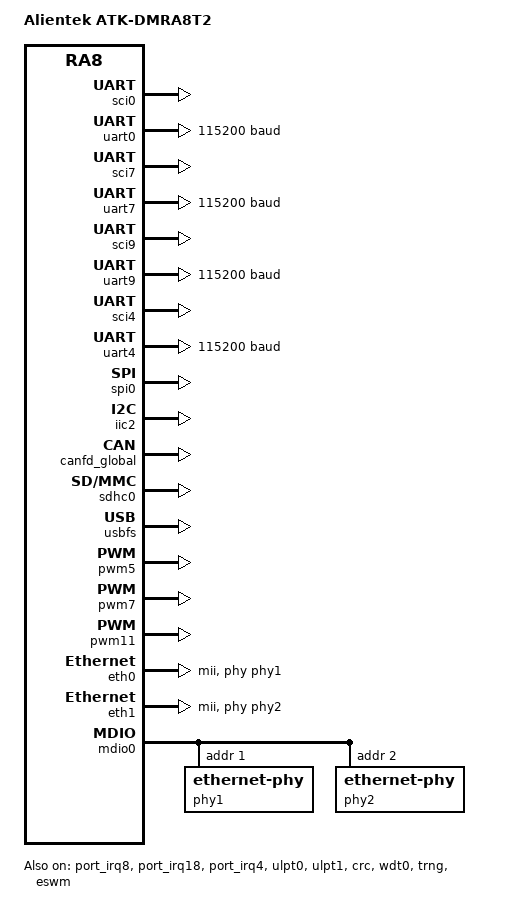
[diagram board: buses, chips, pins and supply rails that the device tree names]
/*
 * Copyright (c) 2026 Alientek
 * SPDX-License-Identifier: Apache-2.0
 */

/dts-v1/;

#include <renesas/ra/ra8/r7ka8t2lflcac_cm85.dtsi>
#include "dmra8t2.dtsi"

/ {
	model = "Alientek ATK-DMRA8T2";
	compatible = "alientek,dmra8t2", "renesas,ra8t2", "renesas,ra8";

	chosen {
		zephyr,sram = &sram0;
		zephyr,flash = &code_mram_cm85;
		zephyr,flash-controller = &mram_ctrl;
		zephyr,code-partition = &slot0_partition;
		zephyr,console = &uart0;
		zephyr,shell-uart = &uart0;
		zephyr,canbus = &canfd1;
		zephyr,crc = &crc;
		zephyr,entropy = &trng;
	};

	aliases {
		led0 = &led0;
		led1 = &led1;
		sw0 = &key0;
		sw1 = &key1;
		sw2 = &boot_key;
	};
};

/* USB to serial converter (CH343P) on USB-C J3 */
&sci0 {
	interrupts = <0 1>, <1 1>, <2 1>, <3 1>;
	interrupt-names = "rxi", "txi", "tei", "eri";
	status = "okay";
};

&uart0 {
	current-speed = <115200>;
	status = "okay";
};

/* HMI serial screen (CN3) / RS232, selected by jumper P1 */
&sci7 {
	interrupts = <4 1>, <5 1>, <6 1>, <7 1>;
	interrupt-names = "rxi", "txi", "tei", "eri";
	status = "okay";
};

&uart7 {
	current-speed = <115200>;
	status = "okay";
};

/* RS485 (TP8485E) on CN2 */
&sci9 {
	interrupts = <8 1>, <9 1>, <10 1>, <11 1>;
	interrupt-names = "rxi", "txi", "tei", "eri";
	status = "okay";
};

&uart9 {
	current-speed = <115200>;
	status = "okay";
};

/* ATK-MODULE header (CN2) */
&sci4 {
	interrupts = <12 1>, <13 1>, <14 1>, <15 1>;
	interrupt-names = "rxi", "txi", "tei", "eri";
	status = "okay";
};

&uart4 {
	current-speed = <115200>;
	status = "okay";
};

/* SPI LCD / 2.4G wireless module header (U3) */
&spi0 {
	interrupts = <16 1>, <17 1>, <18 1>, <19 1>;
	interrupt-names = "rxi", "txi", "tei", "eri";
	status = "okay";
};

/* Brought out on the encoder header CN11 (ENC3 = SCL, ENC4 = SDA) */
&iic2 {
	interrupts = <20 1>, <21 1>, <22 1>, <23 1>;
	interrupt-names = "rxi", "txi", "tei", "eri";
	status = "okay";
};

/* CAN-FD (TJA1050) on CN2 */
&canfd_global {
	interrupts = <24 1>, <25 1>;
	interrupt-names = "rxf", "glerr";
	status = "okay";

	canfd1 {
		interrupts = <26 1>, <27 1>, <28 11>;
		interrupt-names = "err", "tx", "rx";
		status = "okay";
	};
};

/* KEY0 = P707 (IRQ8), KEY1 = PD06 (IRQ18), BOOT = P201 (IRQ4) */
&port_irq8 {
	interrupts = <29 1>;
	status = "okay";
};

&port_irq18 {
	interrupts = <30 1>;
	status = "okay";
};

&port_irq4 {
	interrupts = <31 1>;
	status = "okay";
};

/* micro SD card socket */
&sdhc0 {
	interrupts = <32 1>, <33 1>, <34 1>;
	interrupt-names = "accs", "card", "dma-req";
	status = "okay";

	sdmmc {
		status = "okay";
	};
};

/* USB device on USB-C J4 */
&usbfs {
	interrupts = <35 12>, <36 12>;
	interrupt-names = "usbfs-i", "usbfs-r";
	status = "okay";

	zephyr_udc0: udc {
		status = "okay";
	};
};

&ulpt0 {
	interrupts = <37 1>;
	interrupt-names = "ulpti";
	status = "okay";

	timer {
		status = "okay";
	};
};

&ulpt1 {
	status = "okay";

	timer {
		status = "okay";
	};
};

/* Servo 1 pulse (SRV1) */
&pwm5 {
	interrupts = <39 1>, <40 1>;
	interrupt-names = "gtioca", "overflow";
	status = "okay";
};

/* Servo 2 pulse (SRV2) */
&pwm7 {
	interrupts = <41 1>, <42 1>;
	interrupt-names = "gtioca", "overflow";
	status = "okay";
};

/* Stepper driver pulse outputs: channel A = ST1_PUL, channel B = ST2_PUL */
&pwm11 {
	interrupts = <43 1>, <44 1>;
	interrupt-names = "gtioca", "overflow";
	status = "okay";
};

/* 32 MB SDRAM on the ATK-CNRA8T2 core module */
&sdram {
	status = "okay";
};

&sdram1 {
	status = "okay";
};

&crc {
	status = "okay";
};

&wdt0 {
	status = "okay";
};

&trng {
	status = "okay";
};

&code_mram_cm85 {
	partitions {
		ranges;
		#address-cells = <1>;
		#size-cells = <1>;

		boot_partition: partition@0 {
			compatible = "zephyr,mapped-partition";
			label = "mcuboot";
			reg = <0x0 DT_SIZE_K(64)>;
		};

		slot0_partition: partition@10000 {
			compatible = "zephyr,mapped-partition";
			label = "image-0";
			reg = <0x10000 DT_SIZE_K(344)>;
		};

		slot1_partition: partition@66000 {
			compatible = "zephyr,mapped-partition";
			label = "image-1";
			reg = <0x66000 DT_SIZE_K(344)>;
		};

		storage_partition: partition@bc000 {
			compatible = "zephyr,mapped-partition";
			label = "storage";
			reg = <0xbc000 DT_SIZE_K(16)>;
		};
	};
};

&eswm {
	interrupts = <38 1>;
	interrupt-names = "gwdi";
	pinctrl-0 = <&ethphyclk_default>;
	pinctrl-names = "default";
	status = "okay";
};

/* ENET0 - RJ45 J5 */
&eth0 {
	phy-connection-type = "mii";
	local-mac-address = [74 90 50 01 02 05];
	phy-clock-type = "xtal";
	phy-handle = <&phy1>;
	pinctrl-0 = <&eth0_default>;
	pinctrl-names = "default";
	status = "okay";
};

/* ENET1 - RJ45 J6 */
&eth1 {
	phy-connection-type = "mii";
	local-mac-address = [74 90 50 01 02 06];
	phy-clock-type = "xtal";
	phy-handle = <&phy2>;
	pinctrl-0 = <&eth1_default>;
	pinctrl-names = "default";
	status = "okay";
};

/* Both YT8512C PHYs share the ET0 MDIO bus */
&mdio0 {
	pinctrl-0 = <&mdio0_default>;
	pinctrl-names = "default";
	mdio-hold-time-ns = <10>;
	mdio-capture-time-ns = <10>;
	status = "okay";

	phy1: phy@1 {
		compatible = "ethernet-phy";
		reg = <1>;
		status = "okay";
	};

	phy2: phy@2 {
		compatible = "ethernet-phy";
		reg = <2>;
		status = "okay";
	};
};
